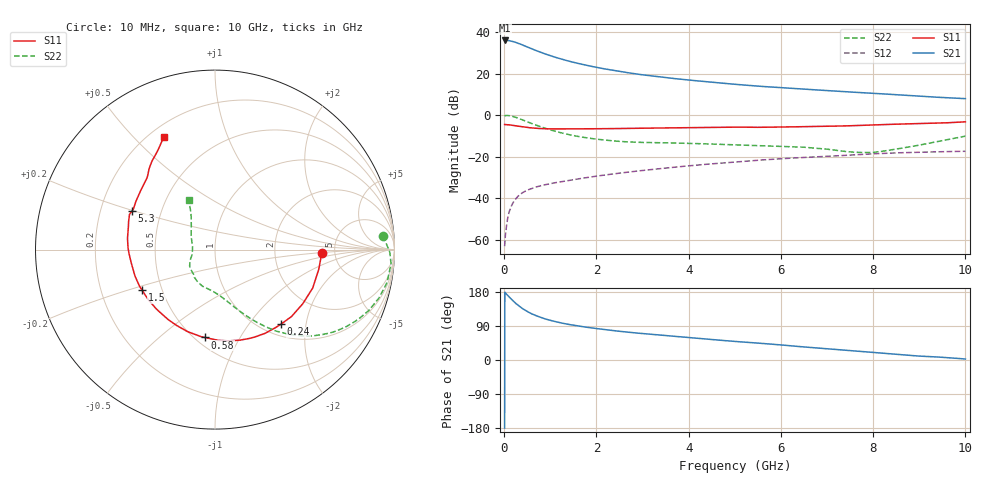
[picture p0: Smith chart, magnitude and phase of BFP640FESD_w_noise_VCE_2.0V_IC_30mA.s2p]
! Infineon Technologies  Discrete & RF Semiconductors
! BFP640FESD
! VCE =  2.0 V,  IC =  30 mA
! Common Emitter S-Parameters:  Jan 2016
# GHz  S  MA  R  50
!  f  S11  S21  S12  S22
! GHz  MAG  ANG  MAG  ANG  MAG  ANG  MAG  ANG
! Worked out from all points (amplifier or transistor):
!   233 points, 10 MHz to 10 GHz, reference 50 ohm
!   highest |S21| = 35.9 dB at 20 MHz (marker M1)
!   |S21| within 3 dB of that: start of sweep to 487.4 MHz
!   unconditionally stable (mu >= 1): 3.24 GHz to end of sweep
!   at 200 MHz: K = 0.14, MSG = 38.7 dB, |S12| = -41.9 dB
!   at 1.74 GHz: K = 0.84, MSG = 27.2 dB, |S12| = -30.3 dB
!   at 10 GHz: K = 1.07, MAG = 11.0 dB, |S12| = -17.4 dB
!   lowest NFmin = 1.07 dB at 450 MHz
!   S11 on the Smith chart (normalised r, x): 10 MHz: 3.91, -0.24; 240 MHz: 1.21, -1.45; 580 MHz: 0.56, -0.72; 1.5 GHz: 0.39, -0.22; 5.3 GHz: 0.34, +0.20; 10 GHz: 0.26, +0.61
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0.01  0.5937 -1.9  62.23 -179.5  0.0007 85.9  0.9396 4.7
0.02  0.5918 -4.5  62.51 177.6  0.001 94.6  0.9742 -0.9
0.1  0.585 -21.5  62.21 167.6  0.0043 81.5  0.9759 -10.8
0.155  0.5731 -32.6  60.53 160.6  0.0064 77.2  0.9489 -17.0
0.24  0.5546 -48.6  56.69 150.7  0.0093 71.3  0.8916 -25.4
0.3  0.5435 -59.2  53.83 144.5  0.0111 67.9  0.8455 -30.7
0.4  0.5235 -74.5  48.61 135.5  0.0136 63.2  0.7658 -38.1
0.5  0.5061 -87.8  43.66 128.0  0.0156 60.0  0.6912 -44.2
0.58  0.4929 -96.6  40.09 123.0  0.0169 58.1  0.6376 -48.0
0.7  0.4818 -108.6  35.44 116.5  0.0187 56.3  0.5679 -53.1
0.8  0.4737 -116.7  32.12 111.9  0.02 55.5  0.5189 -56.4
0.96  0.4664 -127.4  27.84 106.0  0.0219 54.9  0.4552 -61.0
1.2  0.464 -139.8  22.94 98.7  0.0246 54.9  0.3826 -66.9
1.5  0.4641 -150.8  18.66 91.9  0.0279 55.7  0.3217 -73.1
1.68  0.4667 -156.1  16.75 88.3  0.0301 56.2  0.296 -76.7
2.4  0.4728 -171.4  11.73 77.1  0.0388 57.4  0.2373 -90.8
3.4  0.4896 174.0  8.218 65.6  0.0517 56.8  0.2161 -107.8
5.1  0.5135 156.8  5.397 48.1  0.0752 51.7  0.1904 -127.3
5.3  0.5103 155.2  5.179 46.4  0.0785 51.2  0.1872 -128.3
6.8  0.5333 139.5  4.016 31.6  0.0991 43.1  0.1577 -152.5
8.4  0.5992 126.4  3.141 15.9  0.122 33.9  0.1458 154.4
10  0.6878 114.6  2.485 2.6  0.1345 23.5  0.3111 117.9
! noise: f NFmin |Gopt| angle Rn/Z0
0.45  1.07  0.19  -172  0.08
2.4  1.09  0.24  -171  0.1
5.5  1.31  0.29  -157  0.1
10  1.83  0.45  -105  0.31
